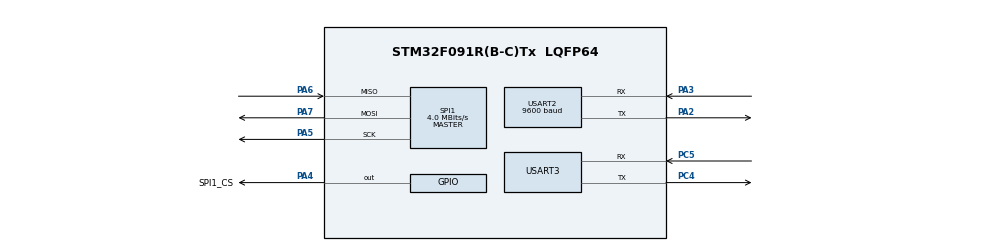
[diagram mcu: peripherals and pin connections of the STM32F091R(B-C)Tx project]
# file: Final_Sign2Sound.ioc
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Mcu.Family=STM32F0
Mcu.Name=STM32F091R(B-C)Tx
Mcu.Package=LQFP64
PA2.Mode=Asynchronous
PA2.Signal=USART2_TX
PA3.Mode=Asynchronous
PA3.Signal=USART2_RX
PA4.GPIO_Label=SPI1_CS
PA4.GPIO_Speed=GPIO_SPEED_FREQ_HIGH
PA4.PinState=GPIO_PIN_SET
PA4.Signal=GPIO_Output
PA5.Mode=Full_Duplex_Master
PA5.Signal=SPI1_SCK
PA6.Mode=Full_Duplex_Master
PA6.Signal=SPI1_MISO
PA7.Mode=Full_Duplex_Master
PA7.Signal=SPI1_MOSI
PC4.Mode=Asynchronous
PC4.Signal=USART3_TX
PC5.Mode=Asynchronous
PC5.Signal=USART3_RX
ProjectManager.HeapSize=0x200
ProjectManager.StackSize=0x400
ProjectManager.TargetToolchain=STM32CubeIDE
SPI1.CalculateBaudRate=4.0 MBits/s
SPI1.DataSize=SPI_DATASIZE_16BIT
SPI1.Direction=SPI_DIRECTION_2LINES
SPI1.Mode=SPI_MODE_MASTER
SPI1.VirtualType=VM_MASTER
USART2.BaudRate=9600
USART2.VirtualMode-Asynchronous=VM_ASYNC
USART3.VirtualMode-Asynchronous=VM_ASYNC
board=custom

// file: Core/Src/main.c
/* USER CODE BEGIN Header */
/**
  ******************************************************************************
  * @file           : main.c
  * @brief          : Main program body
  ******************************************************************************
  * @attention
  *
  * Copyright (c) 2023 STMicroelectronics.
  * All rights reserved.
  *
  * This software is licensed under terms that can be found in the LICENSE file
  * in the root directory of this software component.
  * If no LICENSE file comes with this software, it is provided AS-IS.
  *
  ******************************************************************************
  */
/* USER CODE END Header */
#include "main.h"

/* USER CODE BEGIN Includes */
// OLED Includes
#include <string.h>
/* USER CODE END Includes */

/* USER CODE BEGIN PD */
#define BUFFER_SIZE		15000

/* USER CODE END PD */

SPI_HandleTypeDef hspi1;

UART_HandleTypeDef huart2;
UART_HandleTypeDef huart3;

/* USER CODE BEGIN PV */
// DAC PVs
uint16_t audio_buffer[BUFFER_SIZE] = {0};
volatile uint16_t audio_buffer_index = 0;
volatile uint8_t audio_byte_iter = 0;
volatile uint16_t audio_sample = 0;

// OLED PVs
volatile uint8_t rx_letter;
int wait = 1000000;

// Reset code
static uint8_t reset_code = '!';

/* USER CODE END PV */

void SystemClock_Config(void);
static void MX_GPIO_Init(void);
static void MX_SPI1_Init(void);
static void MX_USART2_UART_Init(void);
static void MX_USART3_UART_Init(void);

/* USER CODE BEGIN PFP */
// DAC Functions
void DAC_Handler(void);
HAL_StatusTypeDef spi_write(uint16_t * data);
void process_audio_data(void);

// OLED Functions
void OLED_Handler(void);
void setup_bb(void);
void small_delay(int t);
void bb_write_bit(int bit);
void bb_write_byte(int byte);
void bb_cmd(int cmd);
void bb_data(int data);
void bb_init_oled(void);
void bb_display1(const char * str);
void bb_clear_display(void);

// Software Reset
void software_reset(void);

/* USER CODE END PFP */

int main(void)
{

  /* MCU Configuration--------------------------------------------------------*/

  /* Reset of all peripherals, Initializes the Flash interface and the Systick. */
  HAL_Init();

  /* Configure the system clock */
  SystemClock_Config();

  /* Initialize all configured peripherals */
  MX_GPIO_Init();
  MX_SPI1_Init();
  MX_USART2_UART_Init();
  MX_USART3_UART_Init();
  /* USER CODE BEGIN 2 */

  // Setup OLED and Display Instructions
  setup_bb();
  bb_init_oled();
  bb_display1("PRESS THE BUTTON TO START");

  /* USER CODE END 2 */

  /* Infinite loop */
  /* USER CODE BEGIN WHILE */
  while (1)
  {
	  // Run the OLED Handler
	  OLED_Handler();
	  // Run the DAC Handler
	  DAC_Handler();

    /* USER CODE END WHILE */

  }
}

void SystemClock_Config(void)
{
  RCC_OscInitTypeDef RCC_OscInitStruct = {0};
  RCC_ClkInitTypeDef RCC_ClkInitStruct = {0};
  RCC_PeriphCLKInitTypeDef PeriphClkInit = {0};

  /** Initializes the RCC Oscillators according to the specified parameters
  * in the RCC_OscInitTypeDef structure.
  */
  RCC_OscInitStruct.OscillatorType = RCC_OSCILLATORTYPE_HSI;
  RCC_OscInitStruct.HSIState = RCC_HSI_ON;
  RCC_OscInitStruct.HSICalibrationValue = RCC_HSICALIBRATION_DEFAULT;
  RCC_OscInitStruct.PLL.PLLState = RCC_PLL_NONE;
  if (HAL_RCC_OscConfig(&RCC_OscInitStruct) != HAL_OK)
  {
    Error_Handler();
  }

  /** Initializes the CPU, AHB and APB buses clocks
  */
  RCC_ClkInitStruct.ClockType = RCC_CLOCKTYPE_HCLK|RCC_CLOCKTYPE_SYSCLK
                              |RCC_CLOCKTYPE_PCLK1;
  RCC_ClkInitStruct.SYSCLKSource = RCC_SYSCLKSOURCE_HSI;
  RCC_ClkInitStruct.AHBCLKDivider = RCC_SYSCLK_DIV1;
  RCC_ClkInitStruct.APB1CLKDivider = RCC_HCLK_DIV1;

  if (HAL_RCC_ClockConfig(&RCC_ClkInitStruct, FLASH_LATENCY_0) != HAL_OK)
  {
    Error_Handler();
  }
  PeriphClkInit.PeriphClockSelection = RCC_PERIPHCLK_USART3|RCC_PERIPHCLK_USART2;
  PeriphClkInit.Usart2ClockSelection = RCC_USART2CLKSOURCE_PCLK1;
  PeriphClkInit.Usart3ClockSelection = RCC_USART3CLKSOURCE_PCLK1;
  if (HAL_RCCEx_PeriphCLKConfig(&PeriphClkInit) != HAL_OK)
  {
    Error_Handler();
  }
}

static void MX_SPI1_Init(void)
{

  /* SPI1 parameter configuration*/
  hspi1.Instance = SPI1;
  hspi1.Init.Mode = SPI_MODE_MASTER;
  hspi1.Init.Direction = SPI_DIRECTION_2LINES;
  hspi1.Init.DataSize = SPI_DATASIZE_16BIT;
  hspi1.Init.CLKPolarity = SPI_POLARITY_LOW;
  hspi1.Init.CLKPhase = SPI_PHASE_1EDGE;
  hspi1.Init.NSS = SPI_NSS_SOFT;
  hspi1.Init.BaudRatePrescaler = SPI_BAUDRATEPRESCALER_2;
  hspi1.Init.FirstBit = SPI_FIRSTBIT_MSB;
  hspi1.Init.TIMode = SPI_TIMODE_DISABLE;
  hspi1.Init.CRCCalculation = SPI_CRCCALCULATION_DISABLE;
  hspi1.Init.CRCPolynomial = 7;
  hspi1.Init.CRCLength = SPI_CRC_LENGTH_DATASIZE;
  hspi1.Init.NSSPMode = SPI_NSS_PULSE_ENABLE;
  if (HAL_SPI_Init(&hspi1) != HAL_OK)
  {
    Error_Handler();
  }

}

static void MX_USART2_UART_Init(void)
{

  huart2.Instance = USART2;
  huart2.Init.BaudRate = 9600;
  huart2.Init.WordLength = UART_WORDLENGTH_8B;
  huart2.Init.StopBits = UART_STOPBITS_1;
  huart2.Init.Parity = UART_PARITY_NONE;
  huart2.Init.Mode = UART_MODE_TX_RX;
  huart2.Init.HwFlowCtl = UART_HWCONTROL_NONE;
  huart2.Init.OverSampling = UART_OVERSAMPLING_16;
  huart2.Init.OneBitSampling = UART_ONE_BIT_SAMPLE_DISABLE;
  huart2.AdvancedInit.AdvFeatureInit = UART_ADVFEATURE_NO_INIT;
  if (HAL_UART_Init(&huart2) != HAL_OK)
  {
    Error_Handler();
  }

}

static void MX_USART3_UART_Init(void)
{

  huart3.Instance = USART3;
  huart3.Init.BaudRate = 115200;
  huart3.Init.WordLength = UART_WORDLENGTH_8B;
  huart3.Init.StopBits = UART_STOPBITS_1;
  huart3.Init.Parity = UART_PARITY_NONE;
  huart3.Init.Mode = UART_MODE_TX_RX;
  huart3.Init.HwFlowCtl = UART_HWCONTROL_NONE;
  huart3.Init.OverSampling = UART_OVERSAMPLING_16;
  huart3.Init.OneBitSampling = UART_ONE_BIT_SAMPLE_DISABLE;
  huart3.AdvancedInit.AdvFeatureInit = UART_ADVFEATURE_NO_INIT;
  if (HAL_UART_Init(&huart3) != HAL_OK)
  {
    Error_Handler();
  }

}

static void MX_GPIO_Init(void)
{
  GPIO_InitTypeDef GPIO_InitStruct = {0};

  /* GPIO Ports Clock Enable */
  __HAL_RCC_GPIOA_CLK_ENABLE();
  __HAL_RCC_GPIOC_CLK_ENABLE();

  /*Configure GPIO pin Output Level */
  HAL_GPIO_WritePin(SPI1_CS_GPIO_Port, SPI1_CS_Pin, GPIO_PIN_SET);

  /*Configure GPIO pin : SPI1_CS_Pin */
  GPIO_InitStruct.Pin = SPI1_CS_Pin;
  GPIO_InitStruct.Mode = GPIO_MODE_OUTPUT_PP;
  GPIO_InitStruct.Pull = GPIO_NOPULL;
  GPIO_InitStruct.Speed = GPIO_SPEED_FREQ_HIGH;
  HAL_GPIO_Init(SPI1_CS_GPIO_Port, &GPIO_InitStruct);

}

/* USER CODE BEGIN 4 */

/**
  * @brief  DAC Handler to receive audio data and send to DAC
  * @retval None
  */
void DAC_Handler(void) {
	if ((USART3->ISR & USART_ISR_RXNE) == USART_ISR_RXNE)
	{
		uint8_t rx_audio_byte = (uint8_t)(USART3->RDR);

		// Save received MSB
		if (audio_byte_iter == 0) {
			audio_sample = rx_audio_byte << 8;
			audio_byte_iter = 1;
		}
		// Save received LSB
		else if (audio_buffer_index < BUFFER_SIZE) {
			audio_sample |= rx_audio_byte;
			audio_byte_iter = 0;

			// Store 16 bit element in buffer
			audio_buffer[audio_buffer_index] = audio_sample;
			audio_buffer_index += 1;
		}
	}

	// Handle overrun
	if (USART3->ISR & USART_ISR_ORE) {
	    USART3->ICR |= USART_ICR_ORECF;
	}
	// Framing error
	if (USART3->ISR & USART_ISR_FE) {
	    USART3->ICR |= USART_ICR_FECF;
	}

	// Send audio buffer to DAC if full
	if (audio_buffer_index == BUFFER_SIZE) {
		process_audio_data();

		// Display instructions on OLED after audio is done
		bb_clear_display();
		bb_display1("PRESS THE BUTTON TO START");
	}
}

/**
  * @brief  Write 16 bit sample to DAC via SPI1
  * @retval None
  */
HAL_StatusTypeDef spi_write(uint16_t * data) {
	HAL_StatusTypeDef ret;
	// Reset CS pin
	HAL_GPIO_WritePin(SPI1_CS_GPIO_Port, SPI1_CS_Pin, GPIO_PIN_RESET);

	// Transmit audio sample
	ret = HAL_SPI_Transmit(&hspi1, data, 2, HAL_MAX_DELAY);

	// Set CS pin
	HAL_GPIO_WritePin(SPI1_CS_GPIO_Port, SPI1_CS_Pin, GPIO_PIN_SET);

	return ret;
}

/**
  * @brief  Send audio buffer to DAC and reset parameters
  * @retval None
  */
void process_audio_data(void) {
	// Iterate through audio buffer samples
	for (int i=0; i<BUFFER_SIZE; i++) {
		// Store next sample
		uint16_t * sample = &audio_buffer[i];

		// Reset sample in buffer
		audio_buffer[i] = 0;

		// Send every other sample to DAC
		if (i % 2 == 0) {
			HAL_StatusTypeDef spiHAL = spi_write(sample);

			// Error Handling
			if (spiHAL != HAL_OK) {
				Error_Handler();
			}
		}
	}

	// Reset buffer parameters
	audio_buffer_index = 0;
	audio_byte_iter = 0;
	audio_sample = 0;

}

void OLED_Handler(void) {
	// Receive transmitted letter
	if ((USART2->ISR & USART_ISR_RXNE) == USART_ISR_RXNE)
	{
		rx_letter = (uint8_t)(USART2->RDR);

		// Check for software reset
		if (rx_letter == reset_code) {
			software_reset();
			return;
		}

		// Clear instruction message
		bb_clear_display();

		// Send letter to OLED
		if ((rx_letter == 'A') || rx_letter == 'a') {
			bb_display1("TRANSLATION: A");
		}
		else if ((rx_letter == 'B') || rx_letter == 'b') {
			bb_display1("TRANSLATION: B");
		}
		else if ((rx_letter == 'C') || rx_letter == 'c') {
			bb_display1("TRANSLATION: C");
		}
		else if ((rx_letter == 'D') || rx_letter == 'd') {
			bb_display1("TRANSLATION: D");
		}
		else if ((rx_letter == 'E') || rx_letter == 'e') {
			bb_display1("TRANSLATION: E");
		}
		else if ((rx_letter == 'F') || rx_letter == 'f') {
			bb_display1("TRANSLATION: F");
		}
		else if ((rx_letter == 'G') || rx_letter == 'g') {
			bb_display1("TRANSLATION: G");
		}
		else if ((rx_letter == 'H') || rx_letter == 'h') {
			bb_display1("TRANSLATION: H");
		}
		else if ((rx_letter == 'I') || rx_letter == 'i') {
			bb_display1("TRANSLATION: I");
		}
		else if ((rx_letter == 'K') || rx_letter == 'k') {
			bb_display1("TRANSLATION: K");
		}
		else if ((rx_letter == 'L') || rx_letter == 'l') {
			bb_display1("TRANSLATION: L");
		}
		else if ((rx_letter == 'M') || rx_letter == 'm') {
			bb_display1("TRANSLATION: M");
		}
		else if ((rx_letter == 'N') || rx_letter == 'n') {
			bb_display1("TRANSLATION: N");
		}
		else if ((rx_letter == 'O') || rx_letter == 'o') {
			bb_display1("TRANSLATION: O");
		}
		else if ((rx_letter == 'P') || rx_letter == 'p') {
			bb_display1("TRANSLATION: P");
		}
		else if ((rx_letter == 'Q') || rx_letter == 'q') {
			bb_display1("TRANSLATION: Q");
		}
		else if ((rx_letter == 'R') || rx_letter == 'r') {
			bb_display1("TRANSLATION: R");
		}
		else if ((rx_letter == 'S') || rx_letter == 's') {
			bb_display1("TRANSLATION: S");
		}
		else if ((rx_letter == 'T') || rx_letter == 't') {
			bb_display1("TRANSLATION: T");
		}
		else if ((rx_letter == 'U') || rx_letter == 'u') {
			bb_display1("TRANSLATION: U");
		}
		else if ((rx_letter == 'V') || rx_letter == 'v') {
			bb_display1("TRANSLATION: V");
		}
		else if ((rx_letter == 'W') || rx_letter == 'w') {
			bb_display1("TRANSLATION: W");
		}
		else if ((rx_letter == 'X') || rx_letter == 'x') {
			bb_display1("TRANSLATION: X");
		}
		else if ((rx_letter == 'Y') || rx_letter == 'y') {
			bb_display1("TRANSLATION: Y");
		}
		else {
			bb_display1("INVALID LETTER");
		}
	}

	// Handle overrun and framing errors
	if (USART2->ISR & USART_ISR_ORE) {
		USART2->ICR |= USART_ICR_ORECF;
	}
	if (USART2->ISR & USART_ISR_FE) {
		USART2->ICR |= USART_ICR_FECF;
	}

}

//============================================================================
// setup_bb(), small_delay(), bb_write_bit(), bb_write_byte(), bb_cmd(),
// bb_data(), bb_init_oled(), bb_display1()
//
// Initialize and execute LCD OLED display
//============================================================================

void setup_bb(void){

	RCC->AHBENR |= RCC_AHBENR_GPIOBEN;
	//GPIOB->MODER &= 0x0;
	GPIOB->MODER |= GPIO_MODER_MODER12_0 | GPIO_MODER_MODER13_0 | GPIO_MODER_MODER15_0;
	//GPIOB->MODER |= 0xB000;

	// Initialize the ODR so that NSS (PB12) is high and SCK (PB13) is low
	GPIOB->ODR |= GPIO_ODR_12;
	GPIOB->ODR &= ~GPIO_ODR_13;
}

void small_delay(int t){
	nano_wait(t);
}

void bb_write_bit(int bit){

	// Set the MOSI pin to the value of the parameter (0 or 1)
	if (bit) {
		GPIOB->BSRR = GPIO_BSRR_BS_15;  // Set MOSI (PB15) to 1
	}
	else {
		GPIOB->BSRR = GPIO_BSRR_BR_15;  // Clear MOSI (PB15) to 0
	}

	small_delay(wait);

	// Set the SCK pin to high
	GPIOB->BSRR = GPIO_BSRR_BS_13;  // Set SCK (PB13) to high

	small_delay(wait);

	// Set the SCK pin to low
	GPIOB->BSRR = GPIO_BSRR_BR_13;  // Clear SCK (PB13) to low
}

void bb_write_byte(int byte){

	int bit;

	// for 8 bits
	for(int i = 7; i >= 0; i--){

		// get value of LSB
		bit = byte >> i;
		bit = bit & 0x1;

		// write bit to LCD
		bb_write_bit(bit);
	}
}

void bb_cmd(int cmd){

	// Set the NSS pin low to start an SPI transfer
	GPIOB->BSRR = GPIO_BSRR_BR_12;  // Clear NSS (PB12) to low
	small_delay(wait);

	// Send command bits: RS=0 (Register Select), R/W=0 (Write)
	bb_write_bit(0);
	bb_write_bit(0);

	// Send the command byte
	bb_write_byte(cmd);
	small_delay(wait);

	// Set the NSS pin high to signal the end of the SPI transfer
	GPIOB->BSRR = GPIO_BSRR_BS_12;  // Set NSS (PB12) to high
	small_delay(wait);
}

void bb_data(int data){

	// Set the NSS pin low to start an SPI transfer
	GPIOB->BSRR = GPIO_BSRR_BR_12;  // Clear NSS (PB12) to low
	small_delay(wait);

	// Send command bits: RS=0 (Register Select), R/W=0 (Write)
	bb_write_bit(1);
	bb_write_bit(0);

	// Send the command byte
	bb_write_byte(data);
	small_delay(wait);

	// Set the NSS pin high to signal the end of the SPI transfer
	GPIOB->BSRR = GPIO_BSRR_BS_12;  // Set NSS (PB12) to high
	small_delay(wait);
}

void bb_init_oled(void){

	// Wait for 1 ms for the display to power up and stabilize
	small_delay(2000000);

	// Initialize the OLED display with the specified commands
	bb_cmd(0x38);  // Set for 8-bit operation
	bb_cmd(0x08);  // Turn display off
	bb_cmd(0x01);  // Clear display

	// Wait for 2 ms for the display to clear
	small_delay(2000000);

	bb_cmd(0x06);  // Set the display to scroll
	bb_cmd(0x02);  // Move the cursor to the home position
	bb_cmd(0x0C);  // Turn the display on
}

void bb_display1(const char * str){
	bb_cmd(0x02); // move the cursor to the home position

	int strSize = strlen(str);
	int firstLine = 1;
	for(int i = 0; i < strSize; i++){
		if(*str != '\0'){
			// Check display lines for overflow
			if (i>0 && i%16==0) {
				// Move to second line of display
				if (firstLine==1) {
					firstLine = 0;
					bb_cmd(0x80 | 0x40);
				}
				// Clear display and move to first line
				else {
					firstLine = 1;
					bb_cmd(0x01);
					bb_cmd(0x02);
				}
				// Skip space if starting line
				if (*str == 32) {
					str++;
				}
			}
			// Write character
			bb_data(*str);
		}
		str++;
	}
}

void bb_clear_display(void) {
	// Clear OLED display
	bb_cmd(0x01);

	// Wait for 2 ms for the display to clear
	small_delay(2000000);

	// Move the cursor to the home position
	bb_cmd(0x02);
}

void software_reset(void) {
  // Set the system reset request bit
  HAL_NVIC_SystemReset();
}

/* USER CODE END 4 */

void Error_Handler(void)
{
  __disable_irq();
  while (1)
  {
  }
}
